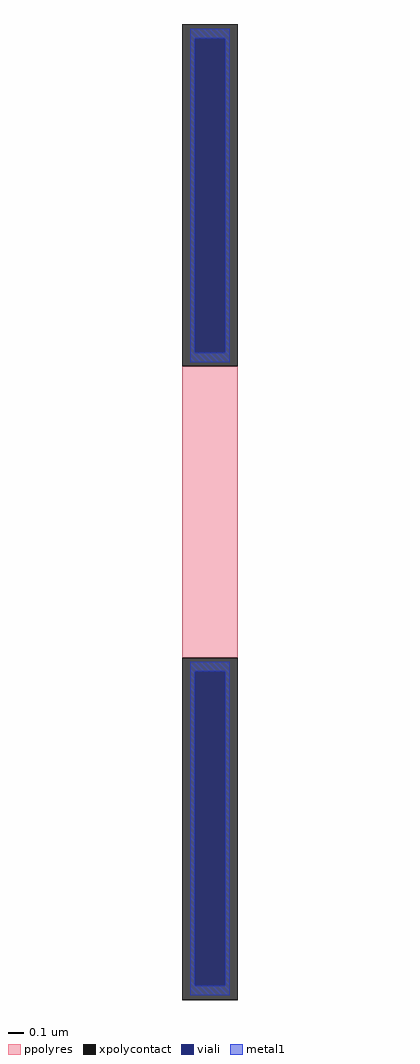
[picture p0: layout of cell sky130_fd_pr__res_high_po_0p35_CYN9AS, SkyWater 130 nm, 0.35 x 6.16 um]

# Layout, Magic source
magic
tech sky130A
magscale 1 2
<< xpolycontact >>
rect -35 184 35 616
rect -35 -616 35 -184
<< ppolyres >>
rect -35 -184 35 184
<< viali >>
rect -19 201 19 598
rect -19 -598 19 -201
<< metal1 >>
rect -25 598 25 610
rect -25 201 -19 598
rect 19 201 25 598
rect -25 189 25 201
rect -25 -201 25 -189
rect -25 -598 -19 -201
rect 19 -598 25 -201
rect -25 -610 25 -598
<< properties >>
string gencell sky130_fd_pr__res_high_po_0p35
string library sky130
string parameters w 0.350 l 2 m 1 nx 1 wmin 0.350 lmin 0.50 class resistor rho 319.8 val 2.94k dummy 0 dw 0.0 term 194.82 sterm 0.0 caplen 0 guard 0 glc 1 grc 1 gtc 1 gbc 1 compatible {sky130_fd_pr__res_high_po_0p35  sky130_fd_pr__res_high_po_0p69 sky130_fd_pr__res_high_po_1p41  sky130_fd_pr__res_high_po_2p85 sky130_fd_pr__res_high_po_5p73} snake 0 full_metal 1 wmax 0.350 vias 1 n_guard 0 hv_guard 0 viagb 0 viagt 0 viagl 0 viagr 0
<< end >>
